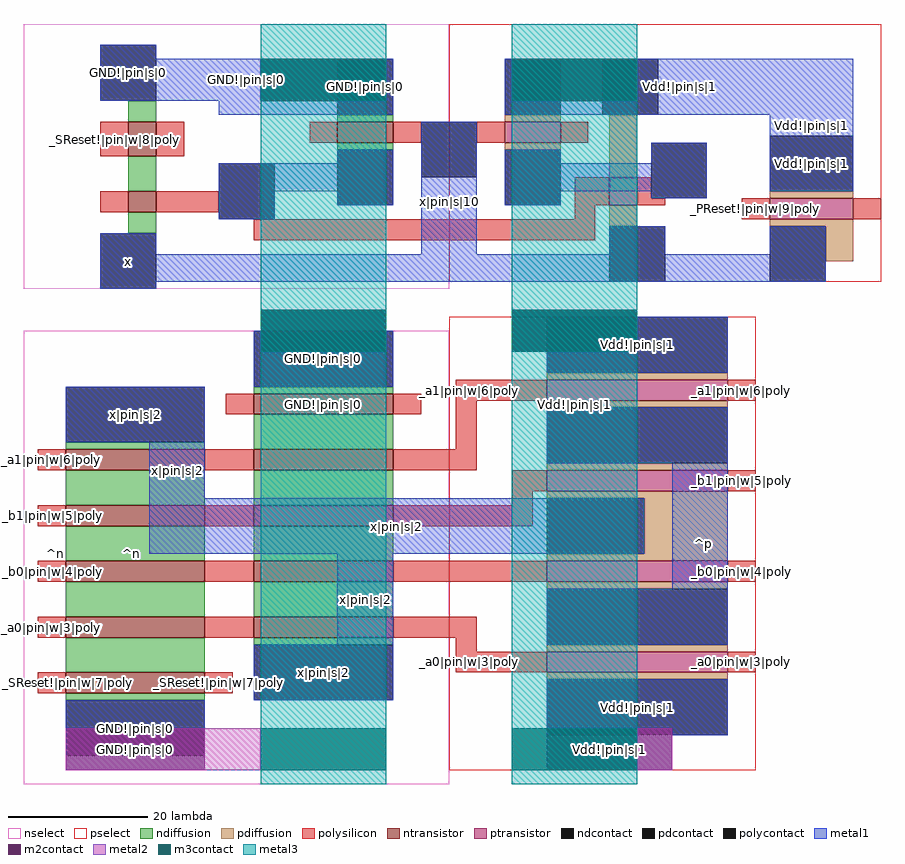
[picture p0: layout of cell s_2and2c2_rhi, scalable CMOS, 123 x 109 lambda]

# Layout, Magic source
magic
tech scmos
<< nselect >>
rect -61 94 0 132
rect -61 23 0 88
<< pselect >>
rect 0 95 62 132
rect 0 25 44 90
<< ndiffusion >>
rect -46 118 -42 121
rect -16 118 -8 119
rect -16 114 -8 115
rect -46 108 -42 113
rect -46 102 -42 105
rect -28 79 -8 80
rect -55 71 -35 72
rect -28 71 -8 76
rect -55 63 -35 68
rect -28 63 -8 68
rect -55 55 -35 60
rect -28 55 -8 60
rect -55 47 -35 52
rect -28 47 -8 52
rect -55 39 -35 44
rect -28 43 -8 44
rect -55 35 -35 36
<< pdiffusion >>
rect 8 118 16 119
rect 8 114 16 115
rect 23 110 27 119
rect 46 107 58 108
rect 23 103 27 106
rect 46 103 58 104
rect 54 98 58 103
rect 14 81 40 82
rect 14 77 40 78
rect 14 68 40 69
rect 14 64 40 65
rect 28 56 40 64
rect 14 55 40 56
rect 14 51 40 52
rect 14 42 40 43
rect 14 38 40 39
<< ntransistor >>
rect -46 113 -42 118
rect -16 115 -8 118
rect -46 105 -42 108
rect -28 76 -8 79
rect -55 68 -35 71
rect -28 68 -8 71
rect -55 60 -35 63
rect -28 60 -8 63
rect -55 52 -35 55
rect -28 52 -8 55
rect -55 44 -35 47
rect -28 44 -8 47
rect -55 36 -35 39
<< ptransistor >>
rect 8 115 16 118
rect 23 106 27 110
rect 46 104 58 107
rect 14 78 40 81
rect 14 65 40 68
rect 14 52 40 55
rect 14 39 40 42
<< polysilicon >>
rect -50 113 -46 118
rect -42 113 -38 118
rect -20 115 -16 118
rect -8 115 -4 118
rect -50 105 -46 108
rect -42 105 -33 108
rect 4 115 8 118
rect 16 115 20 118
rect 18 106 23 110
rect 27 107 29 110
rect 27 106 31 107
rect 18 104 21 106
rect -28 101 21 104
rect 42 104 46 107
rect 58 104 62 107
rect -32 76 -28 79
rect -8 76 -4 79
rect 1 78 14 81
rect 40 78 44 81
rect 1 71 4 78
rect -59 68 -55 71
rect -35 68 -28 71
rect -8 68 4 71
rect 9 65 14 68
rect 40 65 44 68
rect 9 63 12 65
rect -59 60 -55 63
rect -35 60 -28 63
rect -8 60 12 63
rect -59 52 -55 55
rect -35 52 -28 55
rect -8 52 14 55
rect 40 52 44 55
rect -59 44 -55 47
rect -35 44 -28 47
rect -8 44 4 47
rect -59 36 -55 39
rect -35 36 -31 39
rect 1 42 4 44
rect 1 39 14 42
rect 40 39 44 42
<< ndcontact >>
rect -50 121 -42 129
rect -16 119 -8 127
rect -16 106 -8 114
rect -50 94 -42 102
rect -28 80 -8 88
rect -55 72 -35 80
rect -28 35 -8 43
rect -55 27 -35 35
<< pdcontact >>
rect 8 119 16 127
rect 22 119 30 127
rect 8 106 16 114
rect 46 108 58 116
rect 23 95 31 103
rect 46 95 54 103
rect 14 82 40 90
rect 14 69 40 77
rect 14 56 28 64
rect 14 43 40 51
rect 14 30 40 38
<< polycontact >>
rect -33 104 -25 112
rect -4 110 4 118
rect 29 107 37 115
<< metal1 >>
rect -50 127 -42 129
rect -50 121 -27 127
rect -9 121 -8 127
rect -33 119 -8 121
rect 8 121 9 127
rect 27 121 58 127
rect 8 119 58 121
rect -16 112 -8 114
rect -33 108 -8 112
rect -33 104 -25 108
rect -16 106 -8 108
rect -50 99 -42 102
rect -4 99 4 118
rect 8 112 16 114
rect 29 112 37 115
rect 8 108 37 112
rect 46 108 58 119
rect 8 106 16 108
rect 29 107 37 108
rect 23 99 31 103
rect 46 99 54 103
rect -50 95 54 99
rect -50 94 -42 95
rect -28 85 -27 88
rect -9 85 -8 88
rect 27 85 40 90
rect -28 80 -8 85
rect 14 82 40 85
rect -55 72 -35 80
rect -43 64 -35 72
rect 14 69 40 77
rect -43 56 28 64
rect -16 43 -8 56
rect 32 51 40 69
rect 14 43 40 51
rect -28 35 -8 43
rect -55 31 -35 35
rect 14 31 40 38
rect 32 30 40 31
<< m2contact >>
rect -27 121 -9 127
rect 9 121 27 127
rect -27 85 -9 91
rect 9 85 27 91
rect -55 25 -35 31
rect 14 25 32 31
<< metal2 >>
rect -55 25 -27 31
rect 27 25 32 31
<< m3contact >>
rect -27 121 -9 127
rect 9 121 27 127
rect -27 85 -9 91
rect 9 85 27 91
rect -27 25 -9 31
rect 9 25 27 31
<< metal3 >>
rect -27 23 -9 132
rect 9 23 27 132
<< labels >>
rlabel metal1 -46 98 -46 98 3 x
rlabel space -63 23 -28 89 7 ^n
rlabel space -62 23 -51 89 7 ^n
rlabel space 28 25 45 90 3 ^p
rlabel metal3 -27 23 -9 132 1 GND!|pin|s|0
rlabel metal3 9 23 27 132 1 Vdd!|pin|s|1
rlabel metal1 -55 25 -35 31 1 GND!|pin|s|0
rlabel metal1 -55 27 -35 35 1 GND!|pin|s|0
rlabel metal1 -28 80 -8 88 1 GND!|pin|s|0
rlabel metal1 -50 121 -42 129 1 GND!|pin|s|0
rlabel metal1 -50 121 -8 127 1 GND!|pin|s|0
rlabel metal1 -16 119 -8 127 1 GND!|pin|s|0
rlabel metal1 8 119 58 127 1 Vdd!|pin|s|1
rlabel metal1 46 108 58 127 1 Vdd!|pin|s|1
rlabel metal1 46 108 58 116 1 Vdd!|pin|s|1
rlabel metal1 14 82 40 90 1 Vdd!|pin|s|1
rlabel metal1 14 30 40 38 1 Vdd!|pin|s|1
rlabel metal1 14 25 32 31 1 Vdd!|pin|s|1
rlabel metal1 -43 56 28 64 1 x|pin|s|2
rlabel metal1 -43 56 -35 80 1 x|pin|s|2
rlabel metal1 -55 72 -35 80 1 x|pin|s|2
rlabel metal1 -28 35 -8 43 1 x|pin|s|2
rlabel metal1 -16 35 -8 64 1 x|pin|s|2
rlabel polysilicon 40 39 44 42 1 _a0|pin|w|3|poly
rlabel polysilicon 1 39 5 42 1 _a0|pin|w|3|poly
rlabel polysilicon -59 44 -55 47 1 _a0|pin|w|3|poly
rlabel polysilicon -59 52 -55 55 1 _b0|pin|w|4|poly
rlabel polysilicon 40 52 44 55 1 _b0|pin|w|4|poly
rlabel polysilicon 40 65 44 68 1 _b1|pin|w|5|poly
rlabel polysilicon -59 60 -55 63 1 _b1|pin|w|5|poly
rlabel polysilicon -59 68 -55 71 1 _a1|pin|w|6|poly
rlabel polysilicon 40 78 44 81 1 _a1|pin|w|6|poly
rlabel polysilicon -59 36 -55 39 1 _SReset!|pin|w|7|poly
rlabel polysilicon -35 36 -31 39 1 _SReset!|pin|w|7|poly
rlabel polysilicon -50 113 -46 118 1 _SReset!|pin|w|8|poly
rlabel polysilicon -42 113 -38 118 1 _SReset!|pin|w|8|poly
rlabel polysilicon 42 104 46 107 1 _PReset!|pin|w|9|poly
rlabel polysilicon 58 104 62 107 1 _PReset!|pin|w|9|poly
rlabel metal1 -4 95 4 118 1 x|pin|s|10
rlabel polysilicon 1 78 5 81 1 _a1|pin|w|6|poly
rlabel polysilicon -32 76 -28 79 1 _SReset!|pin|w|11|poly
rlabel polysilicon -8 76 -4 79 1 _SReset!|pin|w|11|poly
<< end >>
